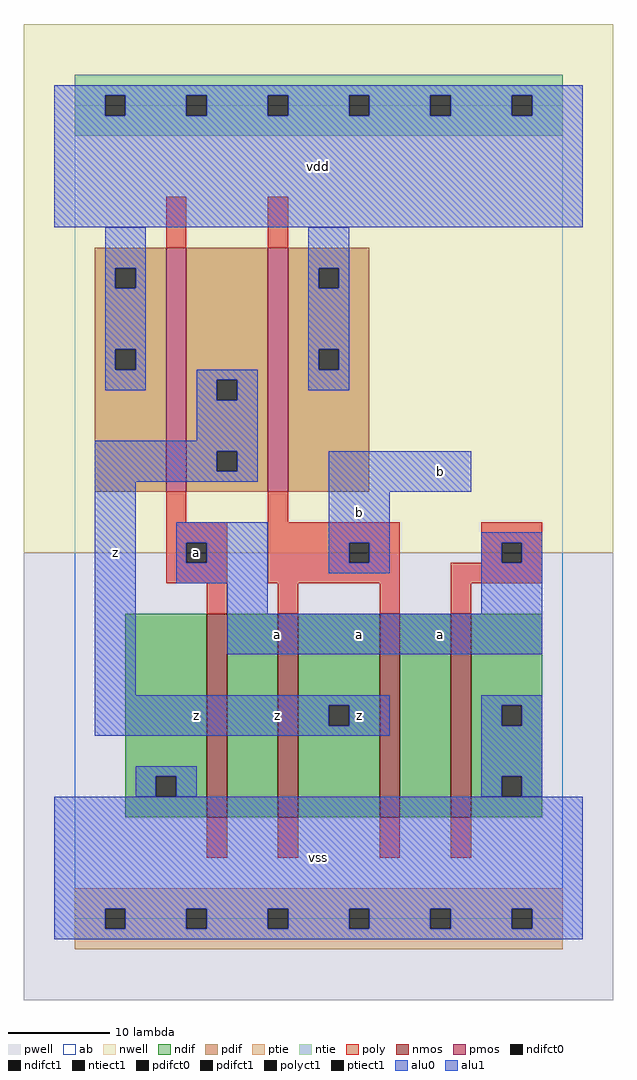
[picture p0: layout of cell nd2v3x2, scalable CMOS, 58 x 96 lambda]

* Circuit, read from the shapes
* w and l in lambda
.subckt nd2v3x2 a b vdd vss z
M1 n1 a vss vss nfet w=20 l=2
M2 z b n1 vss nfet w=20 l=2
M3 n2 b z vss nfet w=20 l=2
M4 vss a n2 vss nfet w=20 l=2
M5 z a vdd vdd pfet w=24 l=2
M6 vdd b z vdd pfet w=24 l=2
.ends

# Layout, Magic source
magic
tech scmos
<< ab >>
rect 0 0 48 80
<< nwell >>
rect -5 36 53 88
<< pwell >>
rect -5 -8 53 36
<< poly >>
rect 9 66 11 71
rect 19 66 21 71
rect 9 39 11 42
rect 19 39 21 42
rect 9 37 15 39
rect 9 35 11 37
rect 13 35 15 37
rect 9 33 15 35
rect 19 37 32 39
rect 19 35 27 37
rect 29 35 32 37
rect 40 37 46 39
rect 40 35 42 37
rect 44 35 46 37
rect 19 33 32 35
rect 13 30 15 33
rect 20 30 22 33
rect 30 30 32 33
rect 37 33 46 35
rect 37 30 39 33
rect 13 6 15 10
rect 20 6 22 10
rect 30 6 32 10
rect 37 6 39 10
<< ndif >>
rect 5 14 13 30
rect 5 12 8 14
rect 10 12 13 14
rect 5 10 13 12
rect 15 10 20 30
rect 22 21 30 30
rect 22 19 25 21
rect 27 19 30 21
rect 22 10 30 19
rect 32 10 37 30
rect 39 21 46 30
rect 39 19 42 21
rect 44 19 46 21
rect 39 14 46 19
rect 39 12 42 14
rect 44 12 46 14
rect 39 10 46 12
<< pdif >>
rect 2 64 9 66
rect 2 62 4 64
rect 6 62 9 64
rect 2 56 9 62
rect 2 54 4 56
rect 6 54 9 56
rect 2 42 9 54
rect 11 53 19 66
rect 11 51 14 53
rect 16 51 19 53
rect 11 46 19 51
rect 11 44 14 46
rect 16 44 19 46
rect 11 42 19 44
rect 21 64 29 66
rect 21 62 24 64
rect 26 62 29 64
rect 21 56 29 62
rect 21 54 24 56
rect 26 54 29 56
rect 21 42 29 54
<< alu1 >>
rect -2 81 50 82
rect -2 79 3 81
rect 5 79 11 81
rect 13 79 19 81
rect 21 79 27 81
rect 29 79 35 81
rect 37 79 43 81
rect 45 79 50 81
rect -2 68 50 79
rect 12 53 18 54
rect 12 51 14 53
rect 16 51 18 53
rect 12 47 18 51
rect 2 46 18 47
rect 2 44 14 46
rect 16 44 18 46
rect 2 43 18 44
rect 2 22 6 43
rect 25 42 39 46
rect 10 37 19 39
rect 10 35 11 37
rect 13 35 19 37
rect 10 33 19 35
rect 25 37 31 42
rect 25 35 27 37
rect 29 35 31 37
rect 25 34 31 35
rect 40 37 46 38
rect 40 35 42 37
rect 44 35 46 37
rect 15 30 19 33
rect 40 30 46 35
rect 15 26 46 30
rect 2 21 31 22
rect 2 19 25 21
rect 27 19 31 21
rect 2 18 31 19
rect -2 1 50 12
rect -2 -1 3 1
rect 5 -1 11 1
rect 13 -1 19 1
rect 21 -1 27 1
rect 29 -1 35 1
rect 37 -1 43 1
rect 45 -1 50 1
rect -2 -2 50 -1
<< ptie >>
rect 0 1 48 3
rect 0 -1 3 1
rect 5 -1 11 1
rect 13 -1 19 1
rect 21 -1 27 1
rect 29 -1 35 1
rect 37 -1 43 1
rect 45 -1 48 1
rect 0 -3 48 -1
<< ntie >>
rect 0 81 48 83
rect 0 79 3 81
rect 5 79 11 81
rect 13 79 19 81
rect 21 79 27 81
rect 29 79 35 81
rect 37 79 43 81
rect 45 79 48 81
rect 0 77 48 79
<< nmos >>
rect 13 10 15 30
rect 20 10 22 30
rect 30 10 32 30
rect 37 10 39 30
<< pmos >>
rect 9 42 11 66
rect 19 42 21 66
<< polyct1 >>
rect 11 35 13 37
rect 27 35 29 37
rect 42 35 44 37
<< ndifct0 >>
rect 8 12 10 14
rect 42 19 44 21
rect 42 12 44 14
<< ndifct1 >>
rect 25 19 27 21
<< ntiect1 >>
rect 3 79 5 81
rect 11 79 13 81
rect 19 79 21 81
rect 27 79 29 81
rect 35 79 37 81
rect 43 79 45 81
<< ptiect1 >>
rect 3 -1 5 1
rect 11 -1 13 1
rect 19 -1 21 1
rect 27 -1 29 1
rect 35 -1 37 1
rect 43 -1 45 1
<< pdifct0 >>
rect 4 62 6 64
rect 4 54 6 56
rect 24 62 26 64
rect 24 54 26 56
<< pdifct1 >>
rect 14 51 16 53
rect 14 44 16 46
<< alu0 >>
rect 3 64 7 68
rect 3 62 4 64
rect 6 62 7 64
rect 3 56 7 62
rect 3 54 4 56
rect 6 54 7 56
rect 23 64 27 68
rect 23 62 24 64
rect 26 62 27 64
rect 23 56 27 62
rect 23 54 24 56
rect 26 54 27 56
rect 3 52 7 54
rect 23 52 27 54
rect 40 21 46 22
rect 40 19 42 21
rect 44 19 46 21
rect 6 14 12 15
rect 6 12 8 14
rect 10 12 12 14
rect 40 14 46 19
rect 40 12 42 14
rect 44 12 46 14
<< labels >>
rlabel alu1 4 36 4 36 6 z
rlabel alu1 20 20 20 20 6 z
rlabel alu1 12 20 12 20 6 z
rlabel polyct1 12 36 12 36 6 a
rlabel alu1 20 28 20 28 6 a
rlabel alu1 24 6 24 6 6 vss
rlabel alu1 28 20 28 20 6 z
rlabel alu1 28 28 28 28 6 a
rlabel alu1 28 40 28 40 6 b
rlabel alu1 24 74 24 74 6 vdd
rlabel alu1 36 28 36 28 6 a
rlabel alu1 36 44 36 44 6 b
<< end >>
